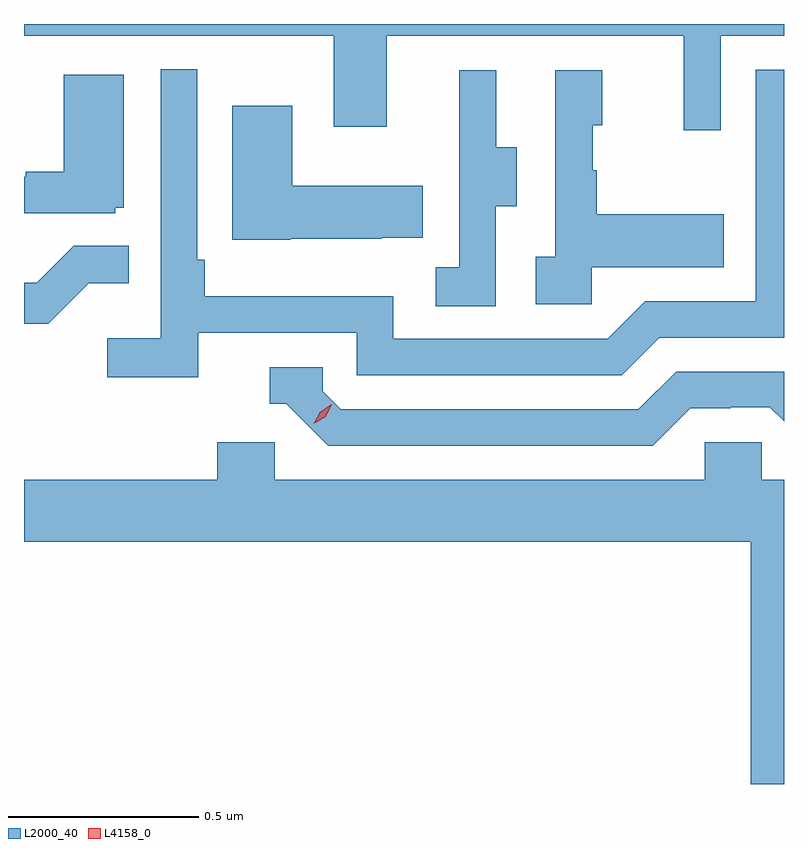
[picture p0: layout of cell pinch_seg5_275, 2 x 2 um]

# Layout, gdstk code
import gdstk
lib = gdstk.Library(unit=1e-6, precision=1e-09)
def P(c, l, *ps):  # polygons
    for p in ps: c.add(gdstk.Polygon(p, *l))
L2000_40 = (2000, 40)
L4158_0 = (4158, 0)

pinch_seg5_275 = lib.new_cell('pinch_seg5_275')
P(pinch_seg5_275, L2000_40, [(892.068,896.72),(892.883,896.72),(892.883,896.481),(893.023,896.481),(893.023,896.72),(893.804,896.72),(893.804,896.472),(893.901,896.472),(893.901,896.72),(894.068,896.72),(894.068,896.751),(892.068,896.751)],
  [(892.526,895.938),(892.944,895.938),(892.944,895.827),(893.641,895.827),(893.74,895.926),(894.068,895.926),(894.068,896.631),(893.994,896.631),(893.994,896.022),(893.703,896.022),(893.604,895.923),(893.04,895.923),(893.04,896.035),(892.544,896.035),(892.544,896.131),(892.524,896.131),(892.524,896.632),(892.428,896.632),(892.428,895.924),(892.287,895.924),(892.287,895.822),(892.526,895.822)],
  [(893.562,896.111),(893.909,896.111),(893.909,896.251),(893.575,896.251),(893.575,896.366),(893.565,896.366),(893.565,896.484),(893.59,896.484),(893.59,896.629),(893.466,896.629),(893.466,896.138),(893.415,896.138),(893.415,896.013),(893.562,896.013)],
  [(893.31,896.272),(893.365,896.272),(893.365,896.427),(893.311,896.427),(893.311,896.629),(893.213,896.629),(893.213,896.415),(893.214,896.415),(893.214,896.111),(893.151,896.111),(893.151,896.008),(893.31,896.008)],
  [(892.308,896.268),(892.33,896.268),(892.33,896.617),(892.172,896.617),(892.172,896.362),(892.073,896.362),(892.073,896.349),(892.068,896.349),(892.068,896.253),(892.308,896.253)],
  [(892.77,896.186),(893.009,896.186),(893.009,896.189),(893.117,896.189),(893.117,896.326),(892.774,896.326),(892.774,896.536),(892.616,896.536),(892.616,896.183),(892.77,896.183)],
  [(892.239,896.069),(892.343,896.069),(892.343,896.168),(892.199,896.168),(892.101,896.07),(892.068,896.07),(892.068,895.962),(892.132,895.962)],
  [(893.821,895.74),(893.928,895.74),(893.928,895.743),(894.031,895.743),(894.068,895.706),(894.068,895.836),(893.784,895.836),(893.685,895.737),(892.902,895.737),(892.854,895.785),(892.854,895.848),(892.715,895.848),(892.715,895.752),(892.758,895.752),(892.869,895.641),(893.722,895.641)],
  [(894.068,895.552),(894.009,895.552),(894.009,895.65),(893.859,895.65),(893.859,895.552),(892.728,895.552),(892.728,895.65),(892.577,895.65),(892.577,895.552),(892.068,895.552),(892.068,895.388),(893.981,895.388),(893.981,894.751),(894.068,894.751)])
P(pinch_seg5_275, L4158_0, [(892.831,895.699),(892.831,895.699),(892.847,895.731),(892.878,895.751),(892.878,895.751),(892.878,895.75),(892.862,895.718),(892.831,895.699)])

lib.write_gds('pinch_seg5_275.gds')
